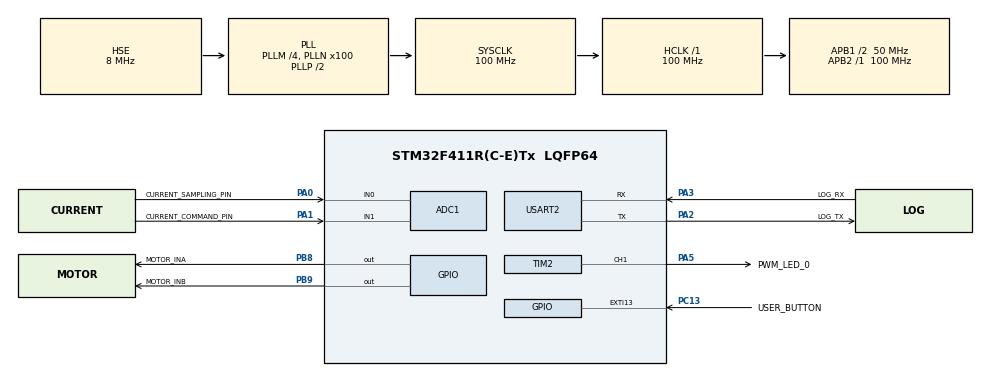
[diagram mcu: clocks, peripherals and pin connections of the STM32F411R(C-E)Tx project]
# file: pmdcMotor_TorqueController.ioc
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ADC1.Channel-0\#ChannelRegularConversion=ADC_CHANNEL_0
ADC1.Channel-3\#ChannelRegularConversion=ADC_CHANNEL_1
ADC1.ContinuousConvMode=ENABLE
ADC1.DMAContinuousRequests=DISABLE
ADC1.EOCSelection=ADC_EOC_SINGLE_CONV
ADC1.NbrOfConversion=2
ADC1.NbrOfConversionFlag=1
ADC1.Rank-0\#ChannelRegularConversion=1
ADC1.Rank-3\#ChannelRegularConversion=2
ADC1.SamplingTime-0\#ChannelRegularConversion=ADC_SAMPLETIME_112CYCLES
ADC1.SamplingTime-3\#ChannelRegularConversion=ADC_SAMPLETIME_112CYCLES
ADC1.ScanConvMode=ENABLE
ADC1.master=1
Mcu.Family=STM32F4
Mcu.Name=STM32F411R(C-E)Tx
Mcu.Package=LQFP64
NVIC.ADC_IRQn=true\:0\:0\:false\:false\:true\:true\:true
NVIC.PriorityGroup=NVIC_PRIORITYGROUP_0
PA0-WKUP.GPIO_Label=CURRENT_SAMPLING_PIN
PA0-WKUP.Signal=ADCx_IN0
PA1.GPIO_Label=CURRENT_COMMAND_PIN
PA1.Signal=ADCx_IN1
PA13.GPIO_Label=TMS
PA13.Mode=Serial_Wire
PA13.Signal=SYS_JTMS-SWDIO
PA14.GPIO_Label=TCK
PA14.Mode=Serial_Wire
PA14.Signal=SYS_JTCK-SWCLK
PA2.GPIO_Label=LOG_TX
PA2.Mode=Asynchronous
PA2.Signal=USART2_TX
PA3.GPIO_Label=LOG_RX
PA3.Mode=Asynchronous
PA3.Signal=USART2_RX
PA5.GPIO_Label=PWM_LED_0
PA5.Signal=S_TIM2_CH1_ETR
PB3.GPIO_Label=SWO
PB3.Signal=SYS_JTDO-SWO
PB8.GPIO_Label=MOTOR_INA
PB8.Signal=GPIO_Output
PB9.GPIO_Label=MOTOR_INB
PB9.Signal=GPIO_Output
PC13-ANTI_TAMP.GPIO_Label=USER_BUTTON
PC13-ANTI_TAMP.GPIO_ModeDefaultEXTI=GPIO_MODE_IT_FALLING
PC13-ANTI_TAMP.Signal=GPXTI13
PC14-OSC32_IN.Mode=LSE-External-Oscillator
PC14-OSC32_IN.Signal=RCC_OSC32_IN
PC15-OSC32_OUT.Mode=LSE-External-Oscillator
PC15-OSC32_OUT.Signal=RCC_OSC32_OUT
PH0\ -\ OSC_IN.Mode=HSE-External-Clock-Source
PH0\ -\ OSC_IN.Signal=RCC_OSC_IN
PH1\ -\ OSC_OUT.Mode=HSE-External-Clock-Source
PH1\ -\ OSC_OUT.Signal=RCC_OSC_OUT
ProjectManager.HeapSize=0x200
ProjectManager.StackSize=0x400
ProjectManager.TargetToolchain=TrueSTUDIO
RCC.48MHZClocksFreq_Value=50000000
RCC.AHBFreq_Value=100000000
RCC.APB1CLKDivider=RCC_HCLK_DIV2
RCC.APB1Freq_Value=50000000
RCC.APB1TimFreq_Value=100000000
RCC.APB2Freq_Value=100000000
RCC.APB2TimFreq_Value=100000000
RCC.CortexFreq_Value=100000000
RCC.FLatency-AdvancedSettings=FLASH_LATENCY_3
RCC.HCLKFreq_Value=100000000
RCC.HSE_VALUE=8000000
RCC.HSI_VALUE=16000000
RCC.PLLM=4
RCC.PLLN=100
RCC.PLLSourceVirtual=RCC_PLLSOURCE_HSE
RCC.SYSCLKFreq_VALUE=100000000
RCC.SYSCLKSource=RCC_SYSCLKSOURCE_PLLCLK
RCC.VCOOutputFreq_Value=200000000
SH.ADCx_IN0.0=ADC1_IN0,IN0
SH.ADCx_IN1.0=ADC1_IN1,IN1
SH.S_TIM2_CH1_ETR.0=TIM2_CH1,PWM Generation1 CH1
TIM2.AutoReloadPreload=TIM_AUTORELOAD_PRELOAD_DISABLE
TIM2.Channel-PWM\ Generation1\ CH1=TIM_CHANNEL_1
TIM2.Period=1000
TIM2.Prescaler=9
TIM2.Pulse-PWM\ Generation1\ CH1=500
USART2.VirtualMode=VM_ASYNC
board=NUCLEO-F411RE

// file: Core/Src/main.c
/* USER CODE BEGIN Header */
/**
  ******************************************************************************
  * @file           : main.c
  * @brief          : Main program body
  ******************************************************************************
  * @attention
  *
  * <h2><center>&copy; Copyright (c) 2019 STMicroelectronics.
  * All rights reserved.</center></h2>
  *
  * This software component is licensed by ST under BSD 3-Clause license,
  * the "License"; You may not use this file except in compliance with the
  * License. You may obtain a copy of the License at:
  *                        opensource.org/licenses/BSD-3-Clause
  *
  ******************************************************************************
  */
/* USER CODE END Header */

#include "main.h"
#include "adc.h"
#include "tim.h"
#include "usart.h"
#include "gpio.h"

/* USER CODE BEGIN Includes */
#include <stdio.h>
#include <stdlib.h>
#include <string.h>
#include <stdarg.h>

/* USER CODE END Includes */

/* USER CODE BEGIN PD */
#define CURRENT_READING analogReadings[0]
#define COMMAND_READING analogReadings[1]
void vprint(const char *fmt, va_list argp)
{
    char string[200];
    if(0 < vsprintf(string,fmt,argp)) // build string
    {
        HAL_UART_Transmit(&huart2, (uint8_t*)string, strlen(string), 0xffffff); // send message via UART
    }
}

void my_printf(const char *fmt, ...) // custom printf() function
{
    va_list argp;
    va_start(argp, fmt);
    vprint(fmt, argp);
    va_end(argp);
}
/* USER CODE END PD */

/* USER CODE BEGIN PV */
__IO uint16_t analogReadings[2];
__IO size_t adcIndex = 0;
const float kp=1.0f,
		  ki=0.0f,
		  kd=0.01f,
		  koutput = 0.3;
/* USER CODE END PV */

void SystemClock_Config(void);
/* USER CODE BEGIN PFP */
void setPWMValue(int pulse);
/* USER CODE END PFP */

int main(void)
{

  /* MCU Configuration--------------------------------------------------------*/

  /* Reset of all peripherals, Initializes the Flash interface and the Systick. */
  HAL_Init();

  /* Configure the system clock */
  SystemClock_Config();

  /* Initialize all configured peripherals */
  MX_GPIO_Init();
  MX_USART2_UART_Init();
  MX_ADC1_Init();
  MX_TIM2_Init();
  /* USER CODE BEGIN 2 */

  HAL_TIM_PWM_Start(&htim2, TIM_CHANNEL_1);
  //HAL_ADC_Start_DMA(&hadc1, (uint32_t*)analogReadings, 2);
  if(HAL_ADC_Start_IT(&hadc1) != HAL_OK)
  {
	  Error_Handler();
  }

  float current = 0,
		  command = 0,
		  error = 0,
		  prevError = 0,
		  cumulativeError = 0,
		  controllerOutput = 0;

  float p,i,d;

  uint32_t previousCall = HAL_GetTick();
  int direction = 0;
  /* USER CODE END 2 */

  /* Infinite loop */
  while (1)
  {

    /* USER CODE BEGIN 3 */
	  current = (float)CURRENT_READING;
	  current = (current - 2048.0f)*(-2.0f);
	  current = current - 350;
	  command = (float)COMMAND_READING;
	  command = command - 2048.0f;

	  error = command - current;
	  cumulativeError += error;

	  p = kp * error;
	  i = ki * cumulativeError;
	  d = kd * (error - prevError);

	  prevError = error;

	  controllerOutput = p + i + d;

	  if(controllerOutput > 4096.0f) controllerOutput = 4096;
	  else if(controllerOutput < -4096.0f) controllerOutput = -4096;
	  int pwmOut = (int)(controllerOutput*koutput);

	  if(pwmOut<0)pwmOut=pwmOut*-1;
	  if(pwmOut>1000)pwmOut = 1000;

	  if(controllerOutput > 0)
	  {
		  //HAL_GPIO_WritePin(MOTOR_INB_GPIO_Port, MOTOR_INB_Pin, GPIO_PIN_RESET);
		  HAL_GPIO_WritePin(MOTOR_INA_GPIO_Port, MOTOR_INA_Pin, GPIO_PIN_RESET);
		  HAL_GPIO_WritePin(MOTOR_INB_GPIO_Port, MOTOR_INB_Pin, GPIO_PIN_SET);
		  direction = 200;
	  }
	  else
	  {
		  //HAL_GPIO_WritePin(MOTOR_INA_GPIO_Port, MOTOR_INA_Pin, GPIO_PIN_RESET);
		  HAL_GPIO_WritePin(MOTOR_INB_GPIO_Port, MOTOR_INB_Pin, GPIO_PIN_RESET);
		  HAL_GPIO_WritePin(MOTOR_INA_GPIO_Port, MOTOR_INA_Pin, GPIO_PIN_SET);
		  direction = -200;
	  }

	  setPWMValue(pwmOut);

	  if(HAL_GetTick() - previousCall >= 10)
	  {
		  my_printf("%d, %d, %d, %d\n", (int)(current), (int)(command), (int)(controllerOutput), direction);

		  //my_printf("cont: %d, curr: %d, comm: %d, pwm:%d\n", (int)(controllerOutput), (int)(current), (int)(command), pwmOut);
		  previousCall = HAL_GetTick();
	  }
  }
  /* USER CODE END 3 */
}

void SystemClock_Config(void)
{
  RCC_OscInitTypeDef RCC_OscInitStruct = {0};
  RCC_ClkInitTypeDef RCC_ClkInitStruct = {0};

  /** Configure the main internal regulator output voltage
  */
  __HAL_RCC_PWR_CLK_ENABLE();
  __HAL_PWR_VOLTAGESCALING_CONFIG(PWR_REGULATOR_VOLTAGE_SCALE1);
  /** Initializes the CPU, AHB and APB busses clocks
  */
  RCC_OscInitStruct.OscillatorType = RCC_OSCILLATORTYPE_HSE;
  RCC_OscInitStruct.HSEState = RCC_HSE_BYPASS;
  RCC_OscInitStruct.PLL.PLLState = RCC_PLL_ON;
  RCC_OscInitStruct.PLL.PLLSource = RCC_PLLSOURCE_HSE;
  RCC_OscInitStruct.PLL.PLLM = 4;
  RCC_OscInitStruct.PLL.PLLN = 100;
  RCC_OscInitStruct.PLL.PLLP = RCC_PLLP_DIV2;
  RCC_OscInitStruct.PLL.PLLQ = 4;
  if (HAL_RCC_OscConfig(&RCC_OscInitStruct) != HAL_OK)
  {
    Error_Handler();
  }
  /** Initializes the CPU, AHB and APB busses clocks
  */
  RCC_ClkInitStruct.ClockType = RCC_CLOCKTYPE_HCLK|RCC_CLOCKTYPE_SYSCLK
                              |RCC_CLOCKTYPE_PCLK1|RCC_CLOCKTYPE_PCLK2;
  RCC_ClkInitStruct.SYSCLKSource = RCC_SYSCLKSOURCE_PLLCLK;
  RCC_ClkInitStruct.AHBCLKDivider = RCC_SYSCLK_DIV1;
  RCC_ClkInitStruct.APB1CLKDivider = RCC_HCLK_DIV2;
  RCC_ClkInitStruct.APB2CLKDivider = RCC_HCLK_DIV1;

  if (HAL_RCC_ClockConfig(&RCC_ClkInitStruct, FLASH_LATENCY_3) != HAL_OK)
  {
    Error_Handler();
  }
}

/* USER CODE BEGIN 4 */
void setPWMValue(int pulse)
{
	__HAL_TIM_SET_COMPARE(&htim2, TIM_CHANNEL_1, pulse);
}

void HAL_ADC_ConvCpltCallback(ADC_HandleTypeDef* hadc)
{
	analogReadings[adcIndex] = HAL_ADC_GetValue(hadc);
	adcIndex = (adcIndex==0)?1:0;
}
/* USER CODE END 4 */

void Error_Handler(void)
{
}

/************************ (C) COPYRIGHT STMicroelectronics *****END OF FILE****/
